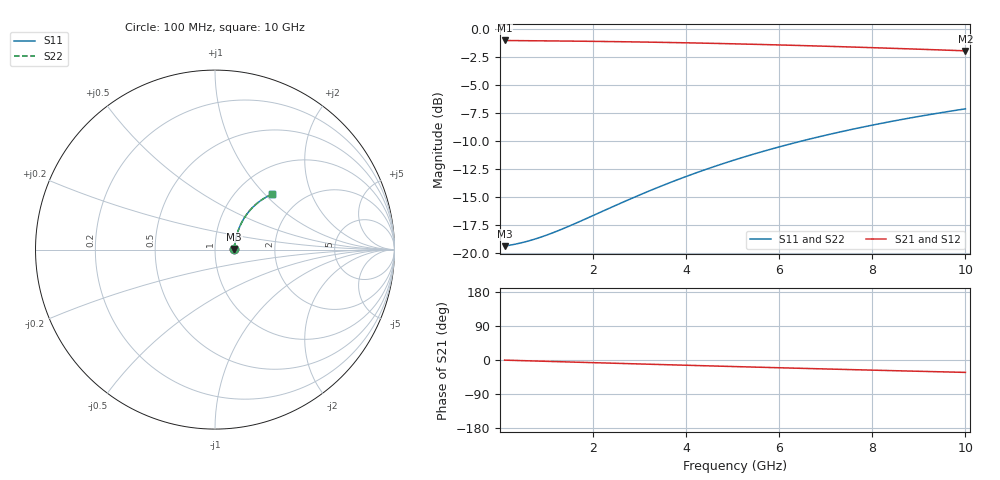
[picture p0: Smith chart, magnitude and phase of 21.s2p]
# Hz S RI R 50.00
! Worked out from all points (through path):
!   100 points, 100 MHz to 10 GHz, reference 50 ohm
!   highest |S21| = -0.99 dB at 100 MHz (marker M1); lowest = -1.9 dB at 10 GHz (marker M2)
!   group delay of S21, straight-line fit = 9.12 ps
!   lowest |S11| = -19.4 dB at 100 MHz (marker M3), VSWR 1.24, Z = 62 + j0.532 ohm
!   |S11| at or under -10 dB: start of sweep to 6.455 GHz
!   |S22| runs from -19.4 to -7.1 dB; largest |S21 - S12| = 0
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1e8  0.1076 0.00424  0.8924 -0.00548  0.8924 -0.00548  0.1076 0.00424
3e8  0.1089 0.0127  0.8911 -0.0164  0.8911 -0.0164  0.1089 0.0127
5e8  0.1099 0.0211  0.89 -0.0273  0.89 -0.0273  0.1099 0.0211
7e8  0.1111 0.0295  0.8889 -0.0381  0.8889 -0.0381  0.1111 0.0295
9e8  0.1123 0.0378  0.8876 -0.049  0.8876 -0.049  0.1123 0.0378
1.1e9  0.1137 0.0461  0.8862 -0.0597  0.8862 -0.0597  0.1137 0.0461
1.3e9  0.1153 0.0544  0.8846 -0.0705  0.8846 -0.0705  0.1153 0.0544
1.8e9  0.1199 0.0748  0.8799 -0.0971  0.8799 -0.0971  0.1199 0.0748
2.7e9  0.1309 0.1104  0.8685 -0.1439  0.8685 -0.1439  0.1309 0.1104
3.4e9  0.1419 0.137  0.8572 -0.1792  0.8572 -0.1792  0.1419 0.137
3.8e9  0.149 0.1516  0.8498 -0.1988  0.8498 -0.1988  0.149 0.1516
4.2e9  0.1568 0.1658  0.8417 -0.2179  0.8417 -0.2179  0.1568 0.1658
4.6e9  0.1652 0.1794  0.8331 -0.2366  0.8331 -0.2366  0.1652 0.1794
5.1e9  0.1764 0.1958  0.8214 -0.2592  0.8214 -0.2592  0.1764 0.1958
5.5e9  0.186 0.2083  0.8115 -0.2767  0.8115 -0.2767  0.186 0.2083
5.9e9  0.196 0.2203  0.8011 -0.2937  0.8011 -0.2937  0.196 0.2203
6.3e9  0.2064 0.2316  0.7903 -0.3101  0.7903 -0.3101  0.2064 0.2316
6.7e9  0.2173 0.2424  0.779 -0.3259  0.779 -0.3259  0.2173 0.2424
7.5e9  0.24 0.2622  0.7553 -0.3557  0.7553 -0.3557  0.24 0.2622
8.4e9  0.2668 0.2814  0.7273 -0.3864  0.7273 -0.3864  0.2668 0.2814
9.2e9  0.2915 0.296  0.7015 -0.411  0.7015 -0.411  0.2915 0.296
1e10  0.3166 0.3081  0.675 -0.4333  0.675 -0.4333  0.3166 0.3081
